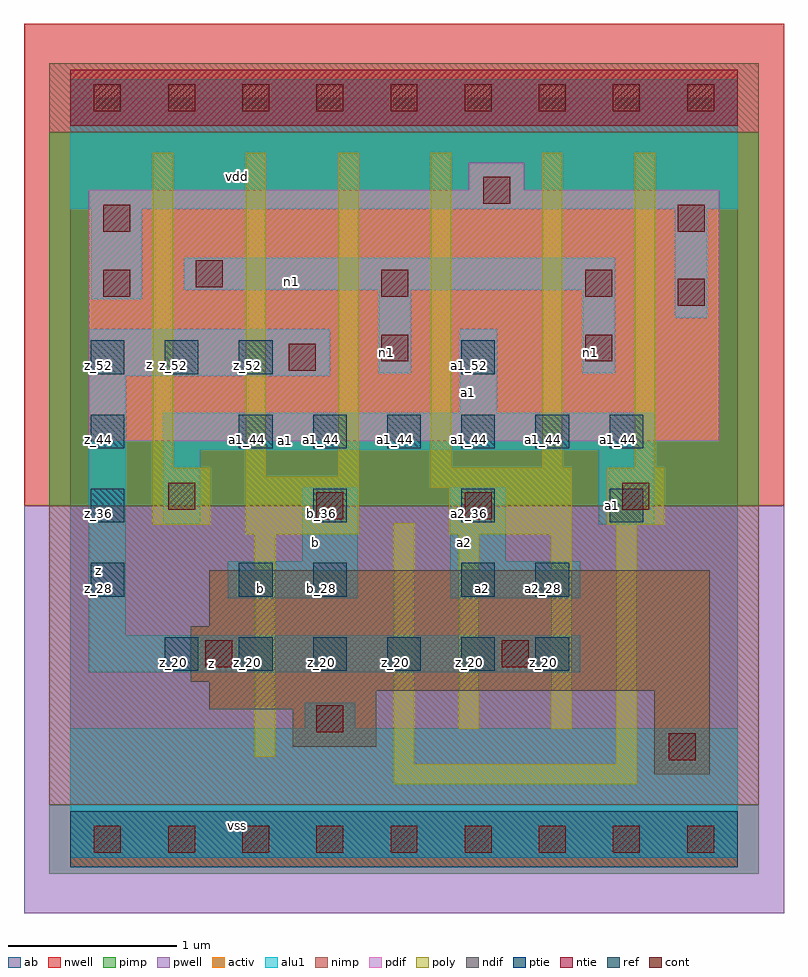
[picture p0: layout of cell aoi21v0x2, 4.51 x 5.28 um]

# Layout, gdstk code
import gdstk
lib = gdstk.Library(unit=1e-6, precision=2.5e-09)
def R(c, l, rs):  # rectangles x0, y0, x1, y1
    for r in rs: c.add(gdstk.rectangle(r[:2], r[2:], *l))
def A(c, l, x, y, w, h, nx, ny, dx, dy):  # array of equal rectangles
    R(c, l, [(x+i*dx, y+j*dy, x+i*dx+w, y+j*dy+h) for i in range(nx) for j in range(ny)])
ndif = (3, 0)
pdif = (4, 0)
ntie = (5, 0)
ptie = (6, 0)
ref = (24, 0)
cont = (25, 0)
pwell = (41, 0)
nwell = (42, 0)
activ = (43, 0)
pimp = (44, 0)
nimp = (45, 0)
poly = (46, 0)
alu1 = (49, 0)
ab = (63, 0)

aoi21v0x2 = lib.new_cell('aoi21v0x2')
R(aoi21v0x2, ndif, [(3.465,0.385,3.795,0.88), (1.32,0.55,1.815,0.77), (0.825,0.77,1.815,0.88), (0.825,0.88,3.795,0.935), (0.715,0.935,3.795,1.265), (0.825,1.265,3.795,1.595)])
R(aoi21v0x2, pdif, [(0.11,2.365,3.85,3.85), (2.365,3.85,2.695,4.015)])
R(aoi21v0x2, ntie, [(0,4.235,3.96,4.565)])
R(aoi21v0x2, ptie, [(0,-0.165,3.96,0.165)])
A(aoi21v0x2, ref, 0.56, 1, 0.2, 0.2, 6, 1, 0.44, 0)
A(aoi21v0x2, ref, 0.12, 1.44, 0.2, 0.2, 1, 3, 0, 0.44)
A(aoi21v0x2, ref, 1.44, 1.88, 0.2, 0.2, 3, 1, 0.88, 0)
A(aoi21v0x2, ref, 1, 2.32, 0.2, 0.2, 6, 1, 0.44, 0)
A(aoi21v0x2, ref, 0.12, 2.76, 0.2, 0.2, 3, 1, 0.44, 0)
R(aoi21v0x2, ref, [(1,1.44,1.2,1.64), (1.44,1.44,1.64,1.64), (2.32,1.44,2.52,1.64), (2.76,1.44,2.96,1.64), (2.32,2.76,2.52,2.96)])
A(aoi21v0x2, cont, 0.14, -0.08, 0.16, 0.16, 9, 2, 0.44, 4.4)
R(aoi21v0x2, cont, [(3.55,0.47,3.71,0.63), (1.46,0.635,1.62,0.795), (0.8,1.02,0.96,1.18), (2.56,1.02,2.72,1.18), (1.46,1.9,1.62,2.06), (2.34,1.9,2.5,2.06), (0.58,1.955,0.74,2.115), (3.275,1.955,3.435,2.115), (1.295,2.78,1.455,2.94), (1.845,2.835,2.005,2.995), (3.055,2.835,3.215,2.995), (3.605,3.165,3.765,3.325), (0.195,3.22,0.355,3.38), (1.845,3.22,2.005,3.38), (3.055,3.22,3.215,3.38), (0.745,3.275,0.905,3.435), (0.195,3.605,0.355,3.765), (3.605,3.605,3.765,3.765), (2.45,3.77,2.61,3.93)])
R(aoi21v0x2, pwell, [(-0.275,-0.44,4.235,1.98)])
R(aoi21v0x2, nwell, [(-0.275,1.98,4.235,4.84)])
R(aoi21v0x2, activ, [(0,-0.165,3.96,0.165), (3.465,0.385,3.795,0.88), (1.32,0.55,1.815,0.77), (0.825,0.77,1.815,0.88), (0.825,0.88,3.795,0.935), (0.715,0.935,3.795,1.265), (0.825,1.265,3.795,1.595), (0.11,2.365,3.85,3.85), (2.365,3.85,2.695,4.015), (0,4.235,3.96,4.565)])
R(aoi21v0x2, pimp, [(-0.125,-0.205,4.085,0.205), (-0.125,1.98,4.085,4.195)])
R(aoi21v0x2, nimp, [(-0.125,0.205,4.085,1.98), (-0.125,4.195,4.085,4.605)])
R(aoi21v0x2, poly, [(1.92,0.325,3.36,0.445), (1.92,0.445,2.04,1.875), (3.24,0.445,3.36,1.865), (1.095,0.49,1.215,1.81), (2.305,0.655,2.425,1.81), (2.855,0.655,2.975,1.81), (1.04,1.81,1.71,2.15), (2.25,1.81,2.975,2.085), (0.49,1.865,0.83,2.205), (3.185,1.865,3.525,2.205), (2.14,2.085,2.975,2.205), (1.04,2.15,1.16,4.075), (1.59,2.15,1.71,4.075), (0.49,2.205,0.61,4.075), (2.14,2.205,2.26,4.075), (2.8,2.205,2.92,4.075), (3.35,2.205,3.47,4.075)])
R(aoi21v0x2, alu1, [(0,-0.11,3.96,0.66), (1.39,0.66,1.69,0.81), (0.11,0.99,3.025,1.21), (0.11,1.21,0.33,2.75), (0.935,1.43,1.705,1.65), (2.255,1.43,3.025,1.65), (1.375,1.65,1.705,2.09), (2.255,1.65,2.585,2.09), (0.55,1.87,0.77,2.31), (3.135,1.87,3.465,2.31), (0.55,2.31,3.465,2.53), (2.31,2.53,2.53,3.025), (0.11,2.75,1.54,3.025), (1.83,2.765,2.02,3.26), (3.04,2.765,3.23,3.26), (3.59,3.095,3.78,3.74), (0.125,3.205,0.425,3.74), (0.675,3.26,3.23,3.45), (0,3.74,3.96,4.51)])
R(aoi21v0x2, ab, [(0,0,3.96,4.4)])
aoi21v0x2.add(gdstk.Label('vss', (0.99,0.0825), layer=49, texttype=0))
aoi21v0x2.add(gdstk.Label('z', (0.8375,1.045), layer=49, texttype=0))
aoi21v0x2.add(gdstk.Label('a2', (2.4475,1.485), layer=49, texttype=0))
aoi21v0x2.add(gdstk.Label('a1', (3.2175,1.98), layer=49, texttype=0))
aoi21v0x2.add(gdstk.Label('a2', (2.3375,1.76), layer=49, texttype=0))
aoi21v0x2.add(gdstk.Label('b', (1.1275,1.485), layer=49, texttype=0))
aoi21v0x2.add(gdstk.Label('b', (1.4575,1.76), layer=49, texttype=0))
aoi21v0x2.add(gdstk.Label('a1', (1.2775,2.365), layer=49, texttype=0))
aoi21v0x2.add(gdstk.Label('n1', (3.0875,2.8875), layer=49, texttype=0))
aoi21v0x2.add(gdstk.Label('a1', (2.365,2.6525), layer=49, texttype=0))
aoi21v0x2.add(gdstk.Label('z', (0.165,1.595), layer=49, texttype=0))
aoi21v0x2.add(gdstk.Label('n1', (1.8775,2.8875), layer=49, texttype=0))
aoi21v0x2.add(gdstk.Label('z', (0.4675,2.8175), layer=49, texttype=0))
aoi21v0x2.add(gdstk.Label('n1', (1.3125,3.3075), layer=49, texttype=0))
aoi21v0x2.add(gdstk.Label('vdd', (0.99,3.9325), layer=49, texttype=0))
aoi21v0x2.add(gdstk.Label('z_20', (0.61,1.05), layer=24, texttype=0))
aoi21v0x2.add(gdstk.Label('z_52', (0.61,2.81), layer=24, texttype=0))
aoi21v0x2.add(gdstk.Label('z_20', (1.05,1.05), layer=24, texttype=0))
aoi21v0x2.add(gdstk.Label('b_28', (1.05,1.49), layer=24, texttype=0))
aoi21v0x2.add(gdstk.Label('a1_44', (1.05,2.37), layer=24, texttype=0))
aoi21v0x2.add(gdstk.Label('z_52', (1.05,2.81), layer=24, texttype=0))
aoi21v0x2.add(gdstk.Label('z_20', (1.49,1.05), layer=24, texttype=0))
aoi21v0x2.add(gdstk.Label('b_28', (1.49,1.49), layer=24, texttype=0))
aoi21v0x2.add(gdstk.Label('b_36', (1.49,1.93), layer=24, texttype=0))
aoi21v0x2.add(gdstk.Label('a1_44', (1.49,2.37), layer=24, texttype=0))
aoi21v0x2.add(gdstk.Label('z_20', (1.93,1.05), layer=24, texttype=0))
aoi21v0x2.add(gdstk.Label('a1_44', (1.93,2.37), layer=24, texttype=0))
aoi21v0x2.add(gdstk.Label('z_28', (0.17,1.49), layer=24, texttype=0))
aoi21v0x2.add(gdstk.Label('z_36', (0.17,1.93), layer=24, texttype=0))
aoi21v0x2.add(gdstk.Label('z_44', (0.17,2.37), layer=24, texttype=0))
aoi21v0x2.add(gdstk.Label('z_52', (0.17,2.81), layer=24, texttype=0))
aoi21v0x2.add(gdstk.Label('z_20', (2.37,1.05), layer=24, texttype=0))
aoi21v0x2.add(gdstk.Label('a2_28', (2.37,1.49), layer=24, texttype=0))
aoi21v0x2.add(gdstk.Label('a2_36', (2.37,1.93), layer=24, texttype=0))
aoi21v0x2.add(gdstk.Label('a1_44', (2.37,2.37), layer=24, texttype=0))
aoi21v0x2.add(gdstk.Label('a1_52', (2.37,2.81), layer=24, texttype=0))
aoi21v0x2.add(gdstk.Label('z_20', (2.81,1.05), layer=24, texttype=0))
aoi21v0x2.add(gdstk.Label('a2_28', (2.81,1.49), layer=24, texttype=0))
aoi21v0x2.add(gdstk.Label('a1_44', (2.81,2.37), layer=24, texttype=0))
aoi21v0x2.add(gdstk.Label('a1_36', (3.25,1.93), layer=24, texttype=0))
aoi21v0x2.add(gdstk.Label('a1_44', (3.25,2.37), layer=24, texttype=0))

lib.write_gds('aoi21v0x2.gds')
